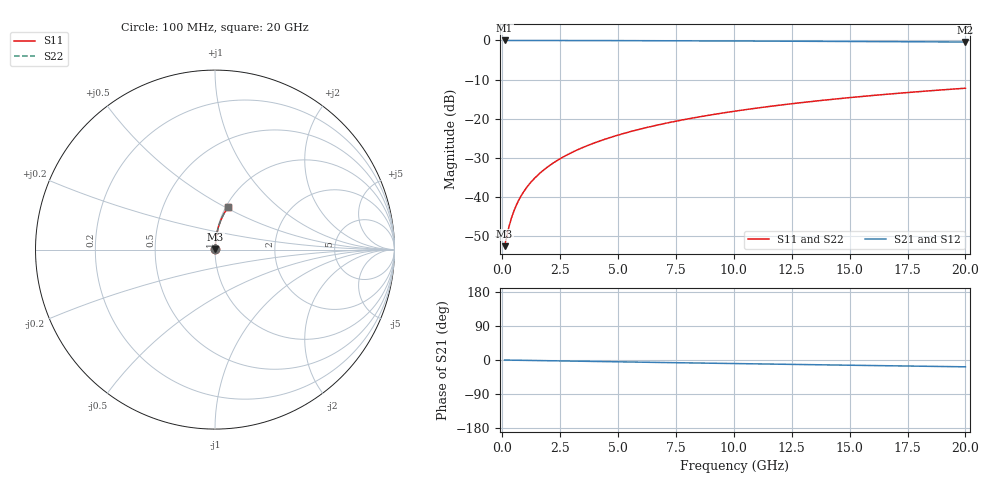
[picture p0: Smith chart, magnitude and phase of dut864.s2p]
! Touchstone file exported from HFSS 2024.1.0
!  File:  C:/UserFiles/LocalFiles/RDL_TSV_Batchsim/temp_RDL_bottom_864_1779864692.aedt
!  Generated:  02:54:40 PM May 27, 2026
!  Design:  RDL_bottom
!  Project:  temp_RDL_bottom_864_1779864692
!  Setup:  Setup1
!  Solution:  Sweep
! Variables:
!  dtsv = 10.80580581um
!  hbump = 3um
!  htsv = 69.97um
!  ldown = 173.08um
!  lrdl = 100um
!  p = 40
!  p1 = 52.41um
!  rhole = 1um
!  t = 450um
!  tdown = 2.86um
!  trdl = 3.915915916um
!  wdown = 11.96um
!  wrdl = 20um
# GHz S MA R 50.000000
! Terminal data exported
! Port[1] = RDL1_T1
! Port[2] = RDL1_T2
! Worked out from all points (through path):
!   200 points, 100 MHz to 20 GHz, reference 50 ohm
!   highest |S21| = -0.02 dB at 100 MHz (marker M1); lowest = -0.4 dB at 20 GHz (marker M2)
!   group delay of S21, straight-line fit = 2.49 ps
!   lowest |S11| = -52.5 dB at 100 MHz (marker M3), VSWR 1.00, Z = 50.2 + j0.127 ohm
!   |S11| at or under -10 dB: start of sweep to end of sweep
!   |S22| runs from -52.5 to -12.2 dB; largest |S21 - S12| = 2.6e-15
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0.1  0.002359 32.5  0.998 -0.1  0.998 -0.1  0.002359 32.5
! Gamma 0 0 0 0
! Port Impedance 50 0 50 0
0.2  0.003231 51.5  0.998 -0.2  0.998 -0.2  0.003231 51.5
0.3  0.0043 61.7  0.998 -0.3  0.998 -0.3  0.0043 61.7
0.4  0.005443 67.5  0.9979 -0.4  0.9979 -0.4  0.005443 67.5
0.5  0.006618 71.3  0.9979 -0.5  0.9979 -0.5  0.006618 71.3
0.6  0.007806 73.9  0.9978 -0.6  0.9978 -0.6  0.007806 73.9
0.8  0.0102 77.3  0.9977 -0.8  0.9977 -0.8  0.0102 77.3
1.1  0.01382 80.1  0.9976 -1.1  0.9976 -1.1  0.01382 80.1
1.5  0.01867 82.2  0.9973 -1.5  0.9973 -1.5  0.01867 82.2
1.8  0.02232 83.0  0.9971 -1.8  0.9971 -1.8  0.02232 83.0
2.1  0.02599 83.7  0.9969 -2.0  0.9969 -2.0  0.02599 83.7
2.7  0.03334 84.3  0.9964 -2.6  0.9964 -2.6  0.03334 84.3
3.5  0.04319 84.7  0.9955 -3.4  0.9955 -3.4  0.04319 84.7
4.2  0.05185 84.7  0.9945 -4.1  0.9945 -4.1  0.05185 84.7
5  0.06179 84.5  0.9933 -4.8  0.9933 -4.8  0.06179 84.5
5.9  0.07301 84.1  0.9917 -5.7  0.9917 -5.7  0.07301 84.1
6.8  0.08426 83.7  0.99 -6.5  0.99 -6.5  0.08426 83.7
8.3  0.1031 82.7  0.9868 -7.9  0.9868 -7.9  0.1031 82.7
10.1  0.1256 81.4  0.9825 -9.5  0.9825 -9.5  0.1256 81.4
13.4  0.1665 78.8  0.9737 -12.4  0.9737 -12.4  0.1665 78.8
16.7  0.2064 76.0  0.9638 -15.2  0.9638 -15.2  0.2064 76.0
20  0.2452 73.2  0.9529 -18.0  0.9529 -18.0  0.2452 73.2
